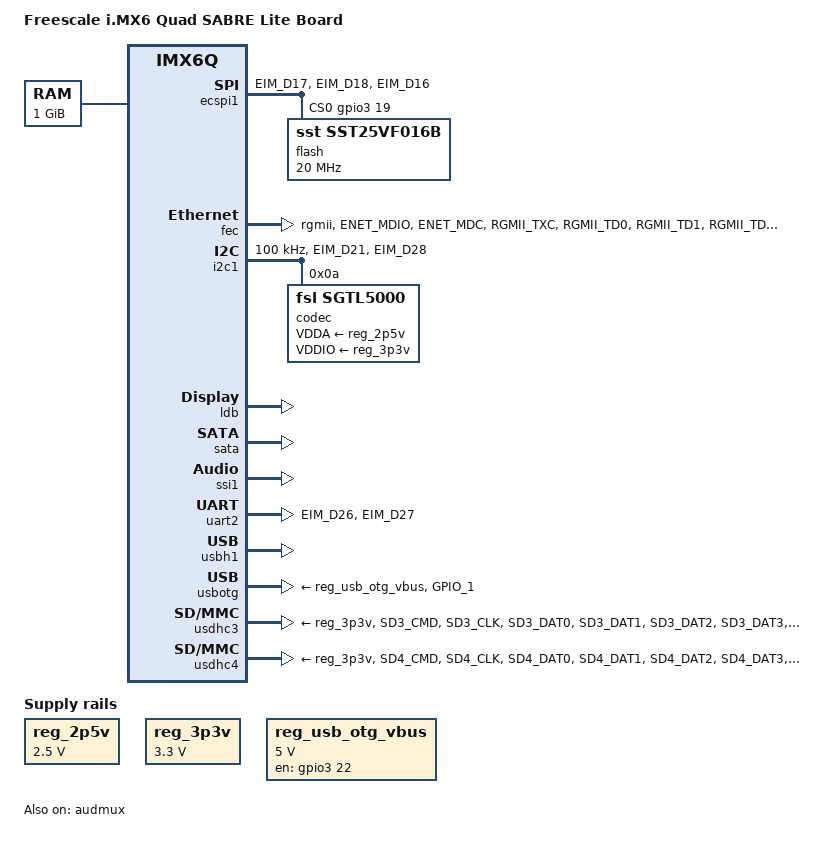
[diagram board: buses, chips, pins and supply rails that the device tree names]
/*
 * Copyright 2011 Freescale Semiconductor, Inc.
 * Copyright 2011 Linaro Ltd.
 *
 * The code contained herein is licensed under the GNU General Public
 * License. You may obtain a copy of the GNU General Public License
 * Version 2 or later at the following locations:
 *
 * http://www.opensource.org/licenses/gpl-license.html
 * http://www.gnu.org/copyleft/gpl.html
 */

/dts-v1/;
#include "imx6q.dtsi"

/ {
	model = "Freescale i.MX6 Quad SABRE Lite Board";
	compatible = "fsl,imx6q-sabrelite", "fsl,imx6q";

	memory {
		reg = <0x10000000 0x40000000>;
	};

	regulators {
		compatible = "simple-bus";
		#address-cells = <1>;
		#size-cells = <0>;

		reg_2p5v: regulator@0 {
			compatible = "regulator-fixed";
			reg = <0>;
			regulator-name = "2P5V";
			regulator-min-microvolt = <2500000>;
			regulator-max-microvolt = <2500000>;
			regulator-always-on;
		};

		reg_3p3v: regulator@1 {
			compatible = "regulator-fixed";
			reg = <1>;
			regulator-name = "3P3V";
			regulator-min-microvolt = <3300000>;
			regulator-max-microvolt = <3300000>;
			regulator-always-on;
		};

		reg_usb_otg_vbus: regulator@2 {
			compatible = "regulator-fixed";
			reg = <2>;
			regulator-name = "usb_otg_vbus";
			regulator-min-microvolt = <5000000>;
			regulator-max-microvolt = <5000000>;
			gpio = <&gpio3 22 0>;
			enable-active-high;
		};
	};

	sound {
		compatible = "fsl,imx6q-sabrelite-sgtl5000",
			     "fsl,imx-audio-sgtl5000";
		model = "imx6q-sabrelite-sgtl5000";
		ssi-controller = <&ssi1>;
		audio-codec = <&codec>;
		audio-routing =
			"MIC_IN", "Mic Jack",
			"Mic Jack", "Mic Bias",
			"Headphone Jack", "HP_OUT";
		mux-int-port = <1>;
		mux-ext-port = <4>;
	};
};

&audmux {
	status = "okay";
	pinctrl-names = "default";
	pinctrl-0 = <&pinctrl_audmux>;
};

&ecspi1 {
	fsl,spi-num-chipselects = <1>;
	cs-gpios = <&gpio3 19 0>;
	pinctrl-names = "default";
	pinctrl-0 = <&pinctrl_ecspi1>;
	status = "okay";

	flash: m25p80@0 {
		compatible = "sst,sst25vf016b";
		spi-max-frequency = <20000000>;
		reg = <0>;
	};
};

&fec {
	pinctrl-names = "default";
	pinctrl-0 = <&pinctrl_enet>;
	phy-mode = "rgmii";
	phy-reset-gpios = <&gpio3 23 0>;
	status = "okay";
};

&i2c1 {
	status = "okay";
	clock-frequency = <100000>;
	pinctrl-names = "default";
	pinctrl-0 = <&pinctrl_i2c1>;

	codec: sgtl5000@0a {
		compatible = "fsl,sgtl5000";
		reg = <0x0a>;
		clocks = <&clks 201>;
		VDDA-supply = <&reg_2p5v>;
		VDDIO-supply = <&reg_3p3v>;
	};
};

&iomuxc {
	pinctrl-names = "default";
	pinctrl-0 = <&pinctrl_hog>;

	imx6q-sabrelite {
		pinctrl_hog: hoggrp {
			fsl,pins = <
				MX6QDL_PAD_NANDF_D6__GPIO2_IO06 0x80000000
				MX6QDL_PAD_NANDF_D7__GPIO2_IO07 0x80000000
				MX6QDL_PAD_EIM_D19__GPIO3_IO19  0x80000000
				MX6QDL_PAD_EIM_D22__GPIO3_IO22  0x80000000
				MX6QDL_PAD_EIM_D23__GPIO3_IO23  0x80000000
				MX6QDL_PAD_SD3_DAT5__GPIO7_IO00 0x80000000
				MX6QDL_PAD_SD3_DAT4__GPIO7_IO01 0x1f0b0
				MX6QDL_PAD_GPIO_0__CCM_CLKO1    0x80000000
			>;
		};

		pinctrl_audmux: audmuxgrp {
			fsl,pins = <
				MX6QDL_PAD_SD2_DAT0__AUD4_RXD		0x130b0
				MX6QDL_PAD_SD2_DAT3__AUD4_TXC		0x130b0
				MX6QDL_PAD_SD2_DAT2__AUD4_TXD		0x110b0
				MX6QDL_PAD_SD2_DAT1__AUD4_TXFS		0x130b0
			>;
		};

		pinctrl_ecspi1: ecspi1grp {
			fsl,pins = <
				MX6QDL_PAD_EIM_D17__ECSPI1_MISO		0x100b1
				MX6QDL_PAD_EIM_D18__ECSPI1_MOSI		0x100b1
				MX6QDL_PAD_EIM_D16__ECSPI1_SCLK		0x100b1
			>;
		};

		pinctrl_enet: enetgrp {
			fsl,pins = <
				MX6QDL_PAD_ENET_MDIO__ENET_MDIO		0x1b0b0
				MX6QDL_PAD_ENET_MDC__ENET_MDC		0x1b0b0
				MX6QDL_PAD_RGMII_TXC__RGMII_TXC		0x1b0b0
				MX6QDL_PAD_RGMII_TD0__RGMII_TD0		0x1b0b0
				MX6QDL_PAD_RGMII_TD1__RGMII_TD1		0x1b0b0
				MX6QDL_PAD_RGMII_TD2__RGMII_TD2		0x1b0b0
				MX6QDL_PAD_RGMII_TD3__RGMII_TD3		0x1b0b0
				MX6QDL_PAD_RGMII_TX_CTL__RGMII_TX_CTL	0x1b0b0
				MX6QDL_PAD_ENET_REF_CLK__ENET_TX_CLK	0x1b0b0
				MX6QDL_PAD_RGMII_RXC__RGMII_RXC		0x1b0b0
				MX6QDL_PAD_RGMII_RD0__RGMII_RD0		0x1b0b0
				MX6QDL_PAD_RGMII_RD1__RGMII_RD1		0x1b0b0
				MX6QDL_PAD_RGMII_RD2__RGMII_RD2		0x1b0b0
				MX6QDL_PAD_RGMII_RD3__RGMII_RD3		0x1b0b0
				MX6QDL_PAD_RGMII_RX_CTL__RGMII_RX_CTL	0x1b0b0
				MX6QDL_PAD_GPIO_16__ENET_REF_CLK	0x4001b0a8
			>;
		};

		pinctrl_i2c1: i2c1grp {
			fsl,pins = <
				MX6QDL_PAD_EIM_D21__I2C1_SCL		0x4001b8b1
				MX6QDL_PAD_EIM_D28__I2C1_SDA		0x4001b8b1
			>;
		};

		pinctrl_uart2: uart2grp {
			fsl,pins = <
				MX6QDL_PAD_EIM_D26__UART2_TX_DATA	0x1b0b1
				MX6QDL_PAD_EIM_D27__UART2_RX_DATA	0x1b0b1
			>;
		};

		pinctrl_usbotg: usbotggrp {
			fsl,pins = <
				MX6QDL_PAD_GPIO_1__USB_OTG_ID		0x17059
			>;
		};

		pinctrl_usdhc3: usdhc3grp {
			fsl,pins = <
				MX6QDL_PAD_SD3_CMD__SD3_CMD		0x17059
				MX6QDL_PAD_SD3_CLK__SD3_CLK		0x10059
				MX6QDL_PAD_SD3_DAT0__SD3_DATA0		0x17059
				MX6QDL_PAD_SD3_DAT1__SD3_DATA1		0x17059
				MX6QDL_PAD_SD3_DAT2__SD3_DATA2		0x17059
				MX6QDL_PAD_SD3_DAT3__SD3_DATA3		0x17059
			>;
		};

		pinctrl_usdhc4: usdhc4grp {
			fsl,pins = <
				MX6QDL_PAD_SD4_CMD__SD4_CMD		0x17059
				MX6QDL_PAD_SD4_CLK__SD4_CLK		0x10059
				MX6QDL_PAD_SD4_DAT0__SD4_DATA0		0x17059
				MX6QDL_PAD_SD4_DAT1__SD4_DATA1		0x17059
				MX6QDL_PAD_SD4_DAT2__SD4_DATA2		0x17059
				MX6QDL_PAD_SD4_DAT3__SD4_DATA3		0x17059
			>;
		};
	};
};

&ldb {
	status = "okay";

	lvds-channel@0 {
		fsl,data-mapping = "spwg";
		fsl,data-width = <18>;
		status = "okay";

		display-timings {
			native-mode = <&timing0>;
			timing0: hsd100pxn1 {
				clock-frequency = <65000000>;
				hactive = <1024>;
				vactive = <768>;
				hback-porch = <220>;
				hfront-porch = <40>;
				vback-porch = <21>;
				vfront-porch = <7>;
				hsync-len = <60>;
				vsync-len = <10>;
			};
		};
	};
};

&sata {
	status = "okay";
};

&ssi1 {
	fsl,mode = "i2s-slave";
	status = "okay";
};

&uart2 {
	status = "okay";
	pinctrl-names = "default";
	pinctrl-0 = <&pinctrl_uart2>;
};

&usbh1 {
	status = "okay";
};

&usbotg {
	vbus-supply = <&reg_usb_otg_vbus>;
	pinctrl-names = "default";
	pinctrl-0 = <&pinctrl_usbotg>;
	disable-over-current;
	status = "okay";
};

&usdhc3 {
	pinctrl-names = "default";
	pinctrl-0 = <&pinctrl_usdhc3>;
	cd-gpios = <&gpio7 0 0>;
	wp-gpios = <&gpio7 1 0>;
	vmmc-supply = <&reg_3p3v>;
	status = "okay";
};

&usdhc4 {
	pinctrl-names = "default";
	pinctrl-0 = <&pinctrl_usdhc4>;
	cd-gpios = <&gpio2 6 0>;
	wp-gpios = <&gpio2 7 0>;
	vmmc-supply = <&reg_3p3v>;
	status = "okay";
};
